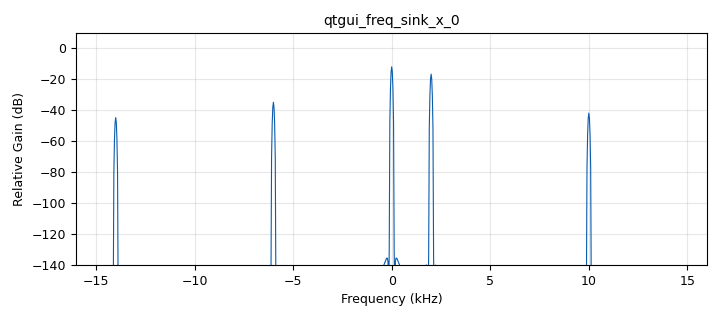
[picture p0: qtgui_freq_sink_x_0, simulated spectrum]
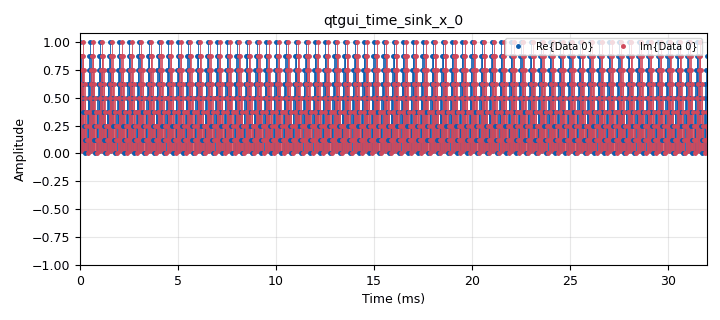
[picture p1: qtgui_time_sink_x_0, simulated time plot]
options:
  parameters:
    author: Over_amaya_angie_chaparro_L1C_G4
    generate_options: qt_gui
    id: lab__p2
    output_language: python
    title: lab_p2_1
  states: {}

blocks:
- name: frec
  id: variable_qtgui_range
  parameters:
    label: Frequency
    start: '1000'
    step: '1000'
    stop: '40000'
    value: '2000'
  states: {}
- name: samp_rate
  id: variable
  parameters:
    value: '32000'
  states: {}
- name: analog_sig_source_x_0
  id: analog_sig_source_x
  parameters:
    amp: '1'
    freq: frec
    offset: '0'
    phase: '0'
    samp_rate: samp_rate
    type: complex
    waveform: analog.GR_TRI_WAVE
  states: {}
- name: blocks_throttle_0
  id: blocks_throttle
  parameters:
    samples_per_second: samp_rate
    type: complex
  states: {}
- name: qtgui_freq_sink_x_0
  id: qtgui_freq_sink_x
  parameters:
    bw: samp_rate
    fc: '0'
    fftsize: '1024'
    type: complex
  states: {}
- name: qtgui_time_sink_x_0
  id: qtgui_time_sink_x
  parameters:
    size: '1024'
    srate: samp_rate
    stemplot: 'True'
    type: complex
  states: {}

connections:
- [analog_sig_source_x_0, '0', blocks_throttle_0, '0']
- [blocks_throttle_0, '0', qtgui_freq_sink_x_0, '0']
- [blocks_throttle_0, '0', qtgui_time_sink_x_0, '0']

metadata:
  file_format: 1
